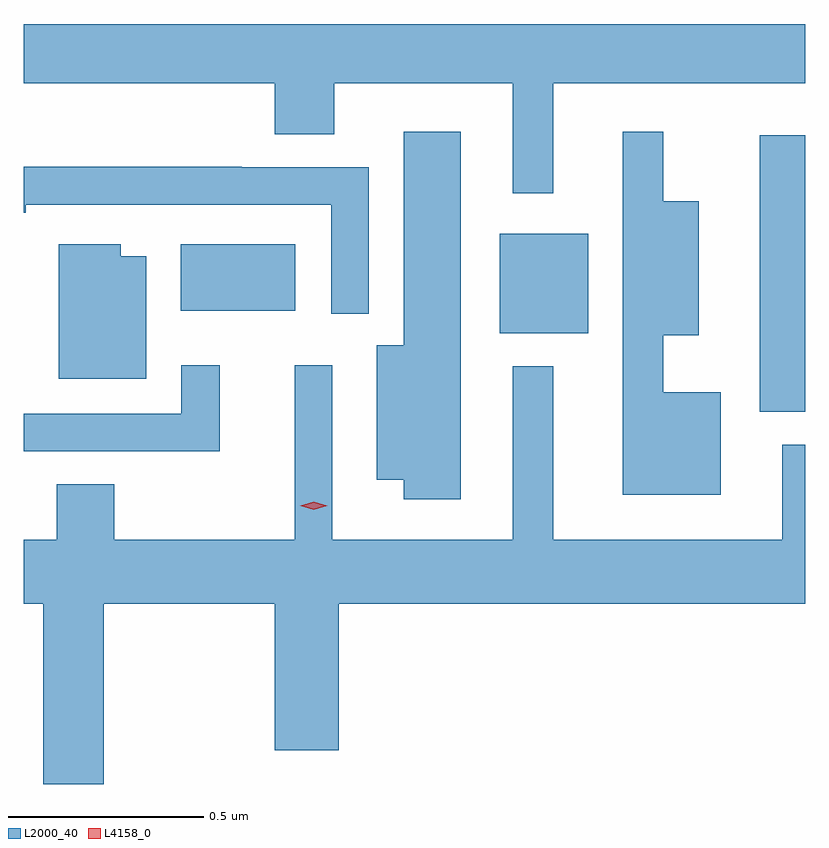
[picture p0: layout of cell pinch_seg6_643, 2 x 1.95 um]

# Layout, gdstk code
import gdstk
lib = gdstk.Library(unit=1e-6, precision=1e-09)
def R(c, l, rs):  # rectangles x0, y0, x1, y1
    for r in rs: c.add(gdstk.rectangle(r[:2], r[2:], *l))
def P(c, l, *ps):  # polygons
    for p in ps: c.add(gdstk.Polygon(p, *l))
L2000_40 = (2000, 40)
L4158_0 = (4158, 0)

pinch_seg6_643 = lib.new_cell('pinch_seg6_643')
R(pinch_seg6_643, L2000_40, [(489.926,962.48,490.042,963.187), (489.26,962.681,489.487,962.935), (488.444,962.738,488.737,962.908)])
P(pinch_seg6_643, L2000_40, [(489.397,963.32),(490.042,963.32),(490.042,963.472),(488.042,963.472),(488.042,963.32),(488.684,963.32),(488.684,963.19),(488.836,963.19),(488.836,963.32),(489.293,963.32),(489.293,963.039),(489.397,963.039)],
  [(489.826,962.53),(489.679,962.53),(489.679,962.675),(489.769,962.675),(489.769,963.019),(489.679,963.019),(489.679,963.196),(489.575,963.196),(489.575,962.267),(489.826,962.267)],
  [(489.16,963.196),(489.014,963.196),(489.014,962.65),(488.945,962.65),(488.945,962.306),(489.014,962.306),(489.014,962.256),(489.16,962.256)],
  [(488.925,963.105),(488.6,963.105),(488.6,963.107),(488.042,963.107),(488.042,962.989),(488.047,962.989),(488.047,963.009),(488.829,963.009),(488.829,962.73),(488.925,962.73)],
  [(488.356,962.878),(488.29,962.878),(488.29,962.908),(488.132,962.908),(488.132,962.564),(488.356,962.564)],
  [(488.247,961.988),(488.684,961.988),(488.684,961.614),(488.848,961.614),(488.848,961.988),(490.042,961.988),(490.042,962.395),(489.983,962.395),(489.983,962.152),(489.397,962.152),(489.397,962.596),(489.293,962.596),(489.293,962.152),(488.832,962.152),(488.832,962.599),(488.735,962.599),(488.735,962.152),(488.274,962.152),(488.274,962.294),(488.126,962.294),(488.126,962.152),(488.042,962.152),(488.042,961.988),(488.092,961.988),(488.092,961.527),(488.247,961.527)],
  [(488.543,962.599),(488.445,962.599),(488.445,962.475),(488.042,962.475),(488.042,962.379),(488.543,962.379)])
P(pinch_seg6_643, L4158_0, [(488.784,962.229),(488.749,962.239),(488.749,962.239),(488.749,962.239),(488.784,962.249),(488.819,962.239),(488.819,962.239),(488.819,962.239)])

lib.write_gds('pinch_seg6_643.gds')
